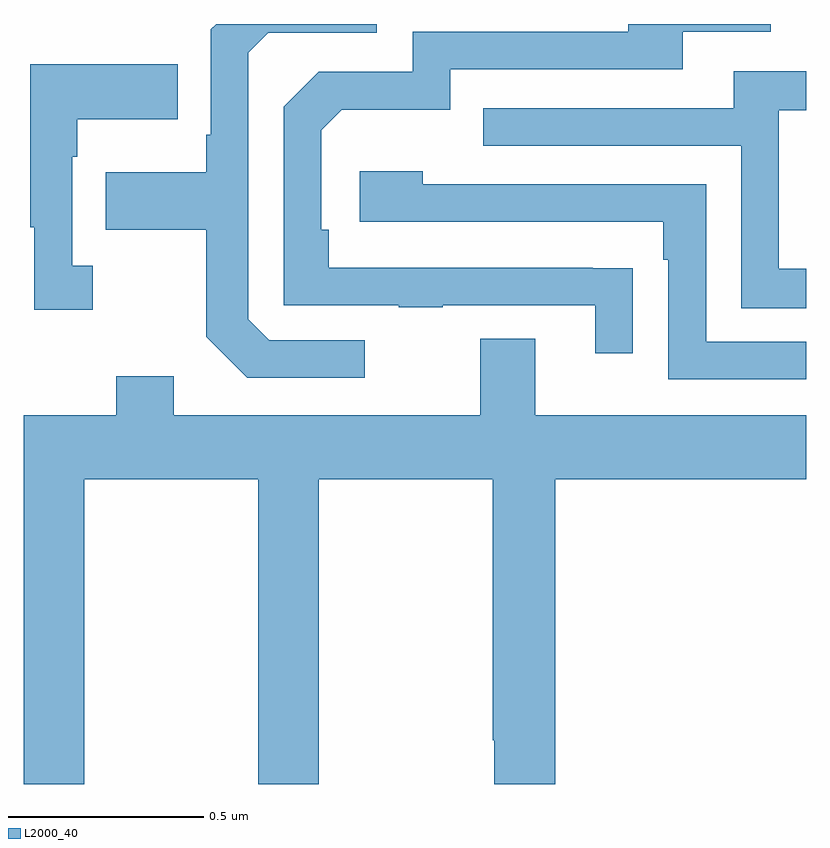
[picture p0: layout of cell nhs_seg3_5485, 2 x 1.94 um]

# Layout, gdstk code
import gdstk
lib = gdstk.Library(unit=1e-6, precision=1e-09)
def P(c, l, *ps):  # polygons
    for p in ps: c.add(gdstk.Polygon(p, *l))
L2000_40 = (2000, 40)

nhs_seg3_5485 = lib.new_cell('nhs_seg3_5485')
P(nhs_seg3_5485, L2000_40, [(179.872,714.591),(179.628,714.591),(179.574,714.645),(179.574,715.326),(179.625,715.377),(179.902,715.377),(179.902,715.4),(179.492,715.4),(179.478,715.386),(179.478,715.117),(179.466,715.117),(179.466,715.021),(179.209,715.021),(179.209,714.874),(179.466,714.874),(179.466,714.601),(179.571,714.495),(179.872,714.495)],
  [(180.557,714.776),(180.455,714.776),(180.455,714.777),(179.78,714.777),(179.78,714.874),(179.76,714.874),(179.76,715.128),(179.813,715.181),(180.09,715.181),(180.09,715.284),(180.685,715.284),(180.685,715.38),(180.91,715.38),(180.91,715.4),(180.545,715.4),(180.545,715.38),(179.994,715.38),(179.994,715.278),(179.754,715.278),(179.664,715.188),(179.664,714.681),(179.959,714.681),(179.959,714.676),(180.071,714.676),(180.071,714.681),(180.461,714.681),(180.461,714.558),(180.557,714.558)],
  [(179.176,714.782),(179.124,714.782),(179.124,715.061),(179.137,715.061),(179.137,715.157),(179.393,715.157),(179.393,715.297),(179.016,715.297),(179.016,714.881),(179.027,714.881),(179.027,714.669),(179.176,714.669)],
  [(181,714.774),(180.93,714.774),(180.93,715.179),(181,715.179),(181,715.279),(180.815,715.279),(180.815,715.185),(180.175,715.185),(180.175,715.089),(180.834,715.089),(180.834,714.673),(181,714.673)],
  [(181,714.588),(180.744,714.588),(180.744,714.99),(180.02,714.99),(180.02,715.024),(179.859,715.024),(179.859,714.894),(180.635,714.894),(180.635,714.797),(180.648,714.797),(180.648,714.492),(181,714.492)],
  [(179.154,714.236),(179.599,714.236),(179.599,713.457),(179.754,713.457),(179.754,714.236),(180.199,714.236),(180.199,713.569),(180.203,713.569),(180.203,713.457),(180.359,713.457),(180.359,714.236),(181,714.236),(181,714.4),(180.307,714.4),(180.307,714.595),(180.167,714.595),(180.167,714.4),(179.383,714.4),(179.383,714.499),(179.236,714.499),(179.236,714.4),(179,714.4),(179,713.457),(179.154,713.457)])

lib.write_gds('nhs_seg3_5485.gds')
